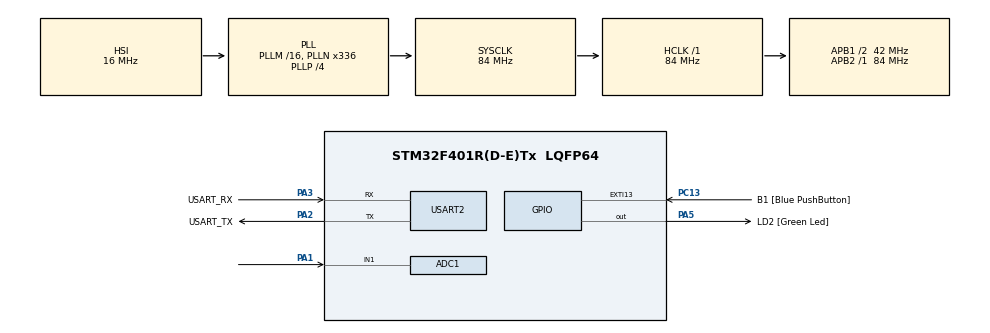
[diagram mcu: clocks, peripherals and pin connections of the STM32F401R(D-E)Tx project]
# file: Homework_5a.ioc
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ADC1.Channel-0\#ChannelRegularConversion=ADC_CHANNEL_1
ADC1.Channel-1\#ChannelRegularConversion=ADC_CHANNEL_TEMPSENSOR
ADC1.Channel-2\#ChannelRegularConversion=ADC_CHANNEL_VREFINT
ADC1.DMAContinuousRequests=ENABLE
ADC1.EOCSelection=ADC_EOC_SEQ_CONV
ADC1.NbrOfConversion=3
ADC1.NbrOfConversionFlag=1
ADC1.Rank-0\#ChannelRegularConversion=1
ADC1.Rank-1\#ChannelRegularConversion=2
ADC1.Rank-2\#ChannelRegularConversion=3
ADC1.SamplingTime-0\#ChannelRegularConversion=ADC_SAMPLETIME_480CYCLES
ADC1.SamplingTime-1\#ChannelRegularConversion=ADC_SAMPLETIME_480CYCLES
ADC1.SamplingTime-2\#ChannelRegularConversion=ADC_SAMPLETIME_480CYCLES
ADC1.ScanConvMode=ENABLE
ADC1.master=1
Dma.ADC1.0.Direction=DMA_PERIPH_TO_MEMORY
Dma.ADC1.0.FIFOMode=DMA_FIFOMODE_DISABLE
Dma.ADC1.0.Instance=DMA2_Stream0
Dma.ADC1.0.MemDataAlignment=DMA_MDATAALIGN_WORD
Dma.ADC1.0.MemInc=DMA_MINC_ENABLE
Dma.ADC1.0.Mode=DMA_CIRCULAR
Dma.ADC1.0.PeriphDataAlignment=DMA_PDATAALIGN_WORD
Dma.ADC1.0.PeriphInc=DMA_PINC_DISABLE
Dma.ADC1.0.Priority=DMA_PRIORITY_LOW
Dma.Request0=ADC1
Dma.Request1=USART2_TX
Dma.USART2_TX.1.Direction=DMA_MEMORY_TO_PERIPH
Dma.USART2_TX.1.FIFOMode=DMA_FIFOMODE_DISABLE
Dma.USART2_TX.1.Instance=DMA1_Stream6
Dma.USART2_TX.1.MemDataAlignment=DMA_MDATAALIGN_BYTE
Dma.USART2_TX.1.MemInc=DMA_MINC_ENABLE
Dma.USART2_TX.1.Mode=DMA_NORMAL
Dma.USART2_TX.1.PeriphDataAlignment=DMA_PDATAALIGN_BYTE
Dma.USART2_TX.1.PeriphInc=DMA_PINC_DISABLE
Dma.USART2_TX.1.Priority=DMA_PRIORITY_LOW
Mcu.Family=STM32F4
Mcu.Name=STM32F401R(D-E)Tx
Mcu.Package=LQFP64
NVIC.DMA1_Stream6_IRQn=true\:0\:0\:false\:false\:true\:false\:true\:true
NVIC.DMA2_Stream0_IRQn=true\:0\:0\:false\:false\:true\:false\:true\:true
NVIC.PriorityGroup=NVIC_PRIORITYGROUP_0
NVIC.TIM2_IRQn=true\:0\:0\:false\:false\:true\:true\:true\:true
NVIC.USART2_IRQn=true\:0\:0\:false\:false\:true\:true\:true\:true
PA1.Signal=ADCx_IN1
PA13.GPIO_Label=TMS
PA13.Mode=Serial_Wire
PA13.Signal=SYS_JTMS-SWDIO
PA14.GPIO_Label=TCK
PA14.Mode=Serial_Wire
PA14.Signal=SYS_JTCK-SWCLK
PA2.GPIO_Label=USART_TX
PA2.GPIO_Mode=GPIO_MODE_AF_PP
PA2.GPIO_PuPd=GPIO_NOPULL
PA2.GPIO_Speed=GPIO_SPEED_FREQ_LOW
PA2.Mode=Asynchronous
PA2.Signal=USART2_TX
PA3.GPIO_Label=USART_RX
PA3.GPIO_Mode=GPIO_MODE_AF_PP
PA3.GPIO_PuPd=GPIO_NOPULL
PA3.GPIO_Speed=GPIO_SPEED_FREQ_LOW
PA3.Mode=Asynchronous
PA3.Signal=USART2_RX
PA5.GPIO_Label=LD2 [Green Led]
PA5.GPIO_Mode=GPIO_MODE_OUTPUT_PP
PA5.GPIO_PuPd=GPIO_NOPULL
PA5.GPIO_Speed=GPIO_SPEED_FREQ_LOW
PA5.Signal=GPIO_Output
PB3.GPIO_Label=SWO
PB3.Signal=SYS_JTDO-SWO
PC13-ANTI_TAMP.GPIO_Label=B1 [Blue PushButton]
PC13-ANTI_TAMP.GPIO_ModeDefaultEXTI=GPIO_MODE_IT_FALLING
PC13-ANTI_TAMP.GPIO_PuPd=GPIO_NOPULL
PC13-ANTI_TAMP.Signal=GPXTI13
PC14-OSC32_IN.Mode=LSE-External-Oscillator
PC14-OSC32_IN.Signal=RCC_OSC32_IN
PC15-OSC32_OUT.Mode=LSE-External-Oscillator
PC15-OSC32_OUT.Signal=RCC_OSC32_OUT
PH0\ -\ OSC_IN.Mode=HSE-External-Clock-Source
PH0\ -\ OSC_IN.Signal=RCC_OSC_IN
PH1\ -\ OSC_OUT.Mode=HSE-External-Clock-Source
PH1\ -\ OSC_OUT.Signal=RCC_OSC_OUT
ProjectManager.HeapSize=0x200
ProjectManager.StackSize=0x400
ProjectManager.TargetToolchain=STM32CubeIDE
RCC.48MHZClocksFreq_Value=48000000
RCC.AHBFreq_Value=84000000
RCC.APB1CLKDivider=RCC_HCLK_DIV2
RCC.APB1Freq_Value=42000000
RCC.APB1TimFreq_Value=84000000
RCC.APB2Freq_Value=84000000
RCC.APB2TimFreq_Value=84000000
RCC.CortexFreq_Value=84000000
RCC.HCLKFreq_Value=84000000
RCC.HSE_VALUE=8000000
RCC.HSI_VALUE=16000000
RCC.PLLN=336
RCC.PLLP=RCC_PLLP_DIV4
RCC.PLLQ=7
RCC.SYSCLKFreq_VALUE=84000000
RCC.SYSCLKSource=RCC_SYSCLKSOURCE_PLLCLK
RCC.VCOOutputFreq_Value=336000000
SH.ADCx_IN1.0=ADC1_IN1,IN1
TIM2.Period=10000-1
TIM2.Prescaler=8400-1
USART2.VirtualMode=VM_ASYNC
VP_ADC1_TempSens_Input.Mode=IN-TempSens
VP_ADC1_Vref_Input.Mode=IN-Vrefint
VP_TIM2_VS_ClockSourceINT.Mode=Internal
board=NUCLEO-F401RE

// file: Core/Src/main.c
/* USER CODE BEGIN Header */
/**
  ******************************************************************************
  * @file           : main.c
  * @brief          : Main program body
  ******************************************************************************
  * @attention
  *
  * Copyright (c) 2023 STMicroelectronics.
  * All rights reserved.
  *
  * This software is licensed under terms that can be found in the LICENSE file
  * in the root directory of this software component.
  * If no LICENSE file comes with this software, it is provided AS-IS.
  *
  ******************************************************************************
  */
/* USER CODE END Header */
#include "main.h"

/* USER CODE BEGIN Includes */
#include "stdio.h"
/* USER CODE END Includes */

ADC_HandleTypeDef hadc1;
DMA_HandleTypeDef hdma_adc1;

TIM_HandleTypeDef htim2;

UART_HandleTypeDef huart2;
DMA_HandleTypeDef hdma_usart2_tx;

/* USER CODE BEGIN PV */
uint32_t ADC_results[3];
float to_buffer[3];
uint8_t num_channels = 3;
char UART_buf[100], degree = 248;
uint16_t UART_buf_len;

/* USER CODE END PV */

void SystemClock_Config(void);
static void MX_GPIO_Init(void);
static void MX_DMA_Init(void);
static void MX_USART2_UART_Init(void);
static void MX_ADC1_Init(void);
static void MX_TIM2_Init(void);

/* USER CODE BEGIN 0 */
void HAL_TIM_PeriodElapsedCallback(TIM_HandleTypeDef *htim){
	if (htim==&htim2){
		HAL_UART_Transmit_DMA(&huart2, (uint8_t *) UART_buf, UART_buf_len);
		HAL_ADC_Start_DMA(&hadc1, (uint32_t *) ADC_results, num_channels);
	}
}

void HAL_ADC_ConvCpltCallback(ADC_HandleTypeDef *hadc){
	if (hadc == &hadc1) {
	   to_buffer[0] = ADC_results[0]*3.3/4095.0;
	   to_buffer[1] = ((ADC_results[1] * 3.3 / 4096.0) - 0.76) / 0.0025 + 25;
	   to_buffer[2] = ADC_results[2]*3.3/4095;
	   UART_buf_len = snprintf(UART_buf,sizeof(UART_buf),"Vpot: %.3f V   Temperature: %.3f %cC   Vref: %.3f V\r\n", to_buffer[0], to_buffer[1], degree, to_buffer[2]);
	}
}
/* USER CODE END 0 */

int main(void)
{

  /* MCU Configuration--------------------------------------------------------*/

  /* Reset of all peripherals, Initializes the Flash interface and the Systick. */
  HAL_Init();

  /* Configure the system clock */
  SystemClock_Config();

  /* Initialize all configured peripherals */
  MX_GPIO_Init();
  MX_DMA_Init();
  MX_USART2_UART_Init();
  MX_ADC1_Init();
  MX_TIM2_Init();
  /* USER CODE BEGIN 2 */
  __HAL_TIM_CLEAR_FLAG(&htim2, TIM_FLAG_UPDATE);
  HAL_TIM_Base_Start_IT(&htim2);
  HAL_ADC_Start_DMA(&hadc1, ADC_results, num_channels);
  /* USER CODE END 2 */

  /* Infinite loop */
  while (1)
  {

  }
}

void SystemClock_Config(void)
{
  RCC_OscInitTypeDef RCC_OscInitStruct = {0};
  RCC_ClkInitTypeDef RCC_ClkInitStruct = {0};

  /** Configure the main internal regulator output voltage
  */
  __HAL_RCC_PWR_CLK_ENABLE();
  __HAL_PWR_VOLTAGESCALING_CONFIG(PWR_REGULATOR_VOLTAGE_SCALE2);

  /** Initializes the RCC Oscillators according to the specified parameters
  * in the RCC_OscInitTypeDef structure.
  */
  RCC_OscInitStruct.OscillatorType = RCC_OSCILLATORTYPE_HSI;
  RCC_OscInitStruct.HSIState = RCC_HSI_ON;
  RCC_OscInitStruct.HSICalibrationValue = RCC_HSICALIBRATION_DEFAULT;
  RCC_OscInitStruct.PLL.PLLState = RCC_PLL_ON;
  RCC_OscInitStruct.PLL.PLLSource = RCC_PLLSOURCE_HSI;
  RCC_OscInitStruct.PLL.PLLM = 16;
  RCC_OscInitStruct.PLL.PLLN = 336;
  RCC_OscInitStruct.PLL.PLLP = RCC_PLLP_DIV4;
  RCC_OscInitStruct.PLL.PLLQ = 7;
  if (HAL_RCC_OscConfig(&RCC_OscInitStruct) != HAL_OK)
  {
    Error_Handler();
  }

  /** Initializes the CPU, AHB and APB buses clocks
  */
  RCC_ClkInitStruct.ClockType = RCC_CLOCKTYPE_HCLK|RCC_CLOCKTYPE_SYSCLK
                              |RCC_CLOCKTYPE_PCLK1|RCC_CLOCKTYPE_PCLK2;
  RCC_ClkInitStruct.SYSCLKSource = RCC_SYSCLKSOURCE_PLLCLK;
  RCC_ClkInitStruct.AHBCLKDivider = RCC_SYSCLK_DIV1;
  RCC_ClkInitStruct.APB1CLKDivider = RCC_HCLK_DIV2;
  RCC_ClkInitStruct.APB2CLKDivider = RCC_HCLK_DIV1;

  if (HAL_RCC_ClockConfig(&RCC_ClkInitStruct, FLASH_LATENCY_2) != HAL_OK)
  {
    Error_Handler();
  }
}

static void MX_ADC1_Init(void)
{

  ADC_ChannelConfTypeDef sConfig = {0};

  /** Configure the global features of the ADC (Clock, Resolution, Data Alignment and number of conversion)
  */
  hadc1.Instance = ADC1;
  hadc1.Init.ClockPrescaler = ADC_CLOCK_SYNC_PCLK_DIV4;
  hadc1.Init.Resolution = ADC_RESOLUTION_12B;
  hadc1.Init.ScanConvMode = ENABLE;
  hadc1.Init.ContinuousConvMode = DISABLE;
  hadc1.Init.DiscontinuousConvMode = DISABLE;
  hadc1.Init.ExternalTrigConvEdge = ADC_EXTERNALTRIGCONVEDGE_NONE;
  hadc1.Init.ExternalTrigConv = ADC_SOFTWARE_START;
  hadc1.Init.DataAlign = ADC_DATAALIGN_RIGHT;
  hadc1.Init.NbrOfConversion = 3;
  hadc1.Init.DMAContinuousRequests = ENABLE;
  hadc1.Init.EOCSelection = ADC_EOC_SEQ_CONV;
  if (HAL_ADC_Init(&hadc1) != HAL_OK)
  {
    Error_Handler();
  }

  /** Configure for the selected ADC regular channel its corresponding rank in the sequencer and its sample time.
  */
  sConfig.Channel = ADC_CHANNEL_1;
  sConfig.Rank = 1;
  sConfig.SamplingTime = ADC_SAMPLETIME_480CYCLES;
  if (HAL_ADC_ConfigChannel(&hadc1, &sConfig) != HAL_OK)
  {
    Error_Handler();
  }

  /** Configure for the selected ADC regular channel its corresponding rank in the sequencer and its sample time.
  */
  sConfig.Channel = ADC_CHANNEL_TEMPSENSOR;
  sConfig.Rank = 2;
  if (HAL_ADC_ConfigChannel(&hadc1, &sConfig) != HAL_OK)
  {
    Error_Handler();
  }

  /** Configure for the selected ADC regular channel its corresponding rank in the sequencer and its sample time.
  */
  sConfig.Channel = ADC_CHANNEL_VREFINT;
  sConfig.Rank = 3;
  if (HAL_ADC_ConfigChannel(&hadc1, &sConfig) != HAL_OK)
  {
    Error_Handler();
  }

}

static void MX_TIM2_Init(void)
{

  TIM_ClockConfigTypeDef sClockSourceConfig = {0};
  TIM_MasterConfigTypeDef sMasterConfig = {0};

  htim2.Instance = TIM2;
  htim2.Init.Prescaler = 8400-1;
  htim2.Init.CounterMode = TIM_COUNTERMODE_UP;
  htim2.Init.Period = 10000-1;
  htim2.Init.ClockDivision = TIM_CLOCKDIVISION_DIV1;
  htim2.Init.AutoReloadPreload = TIM_AUTORELOAD_PRELOAD_DISABLE;
  if (HAL_TIM_Base_Init(&htim2) != HAL_OK)
  {
    Error_Handler();
  }
  sClockSourceConfig.ClockSource = TIM_CLOCKSOURCE_INTERNAL;
  if (HAL_TIM_ConfigClockSource(&htim2, &sClockSourceConfig) != HAL_OK)
  {
    Error_Handler();
  }
  sMasterConfig.MasterOutputTrigger = TIM_TRGO_RESET;
  sMasterConfig.MasterSlaveMode = TIM_MASTERSLAVEMODE_DISABLE;
  if (HAL_TIMEx_MasterConfigSynchronization(&htim2, &sMasterConfig) != HAL_OK)
  {
    Error_Handler();
  }

}

static void MX_USART2_UART_Init(void)
{

  huart2.Instance = USART2;
  huart2.Init.BaudRate = 115200;
  huart2.Init.WordLength = UART_WORDLENGTH_8B;
  huart2.Init.StopBits = UART_STOPBITS_1;
  huart2.Init.Parity = UART_PARITY_NONE;
  huart2.Init.Mode = UART_MODE_TX_RX;
  huart2.Init.HwFlowCtl = UART_HWCONTROL_NONE;
  huart2.Init.OverSampling = UART_OVERSAMPLING_16;
  if (HAL_UART_Init(&huart2) != HAL_OK)
  {
    Error_Handler();
  }

}

static void MX_DMA_Init(void)
{

  /* DMA controller clock enable */
  __HAL_RCC_DMA2_CLK_ENABLE();
  __HAL_RCC_DMA1_CLK_ENABLE();

  /* DMA interrupt init */
  /* DMA1_Stream6_IRQn interrupt configuration */
  HAL_NVIC_SetPriority(DMA1_Stream6_IRQn, 0, 0);
  HAL_NVIC_EnableIRQ(DMA1_Stream6_IRQn);
  /* DMA2_Stream0_IRQn interrupt configuration */
  HAL_NVIC_SetPriority(DMA2_Stream0_IRQn, 0, 0);
  HAL_NVIC_EnableIRQ(DMA2_Stream0_IRQn);

}

static void MX_GPIO_Init(void)
{
  GPIO_InitTypeDef GPIO_InitStruct = {0};

  /* GPIO Ports Clock Enable */
  __HAL_RCC_GPIOC_CLK_ENABLE();
  __HAL_RCC_GPIOH_CLK_ENABLE();
  __HAL_RCC_GPIOA_CLK_ENABLE();
  __HAL_RCC_GPIOB_CLK_ENABLE();

  /*Configure GPIO pin Output Level */
  HAL_GPIO_WritePin(LD2_GPIO_Port, LD2_Pin, GPIO_PIN_RESET);

  /*Configure GPIO pin : B1_Pin */
  GPIO_InitStruct.Pin = B1_Pin;
  GPIO_InitStruct.Mode = GPIO_MODE_IT_FALLING;
  GPIO_InitStruct.Pull = GPIO_NOPULL;
  HAL_GPIO_Init(B1_GPIO_Port, &GPIO_InitStruct);

  /*Configure GPIO pin : LD2_Pin */
  GPIO_InitStruct.Pin = LD2_Pin;
  GPIO_InitStruct.Mode = GPIO_MODE_OUTPUT_PP;
  GPIO_InitStruct.Pull = GPIO_NOPULL;
  GPIO_InitStruct.Speed = GPIO_SPEED_FREQ_LOW;
  HAL_GPIO_Init(LD2_GPIO_Port, &GPIO_InitStruct);

}

void Error_Handler(void)
{
  __disable_irq();
  while (1)
  {
  }
}
